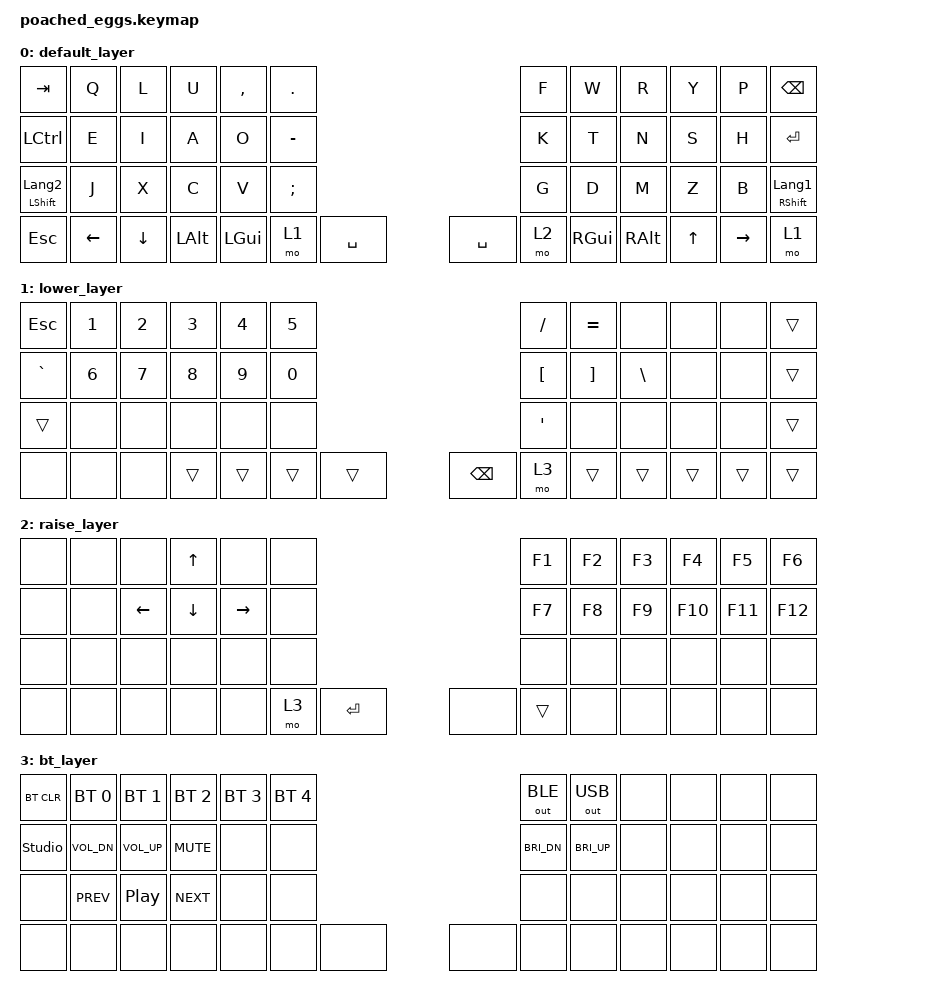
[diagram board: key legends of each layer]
#include <behaviors.dtsi>
#include <dt-bindings/zmk/bt.h>
#include <dt-bindings/zmk/keys.h>
#include <dt-bindings/zmk/outputs.h>

/ {
    keymap {
        compatible = "zmk,keymap";

        default_layer {
            bindings = <
&kp TAB               &kp Q     &kp L     &kp U     &kp COMMA  &kp DOT                          &kp F  &kp W     &kp R     &kp Y   &kp P      &kp BSPC
&kp LCTRL             &kp E     &kp I     &kp A     &kp O      &kp MINUS                        &kp K  &kp T     &kp N     &kp S   &kp H      &kp RET
&mt LSHFT LANGUAGE_2  &kp J     &kp X     &kp C     &kp V      &kp SEMI                         &kp G  &kp D     &kp M     &kp Z   &kp B      &mt RSHFT LANGUAGE_1
&kp ESC               &kp LEFT  &kp DOWN  &kp LALT  &kp LGUI   &mo 1      &kp SPACE  &kp SPACE  &mo 2  &kp RGUI  &kp RALT  &kp UP  &kp RIGHT  &mo 1
            >;
        };

        lower_layer {
            bindings = <
&kp ESC    &kp N1        &kp N2  &kp N3        &kp N4        &kp N5                          &kp SLASH  &kp EQUAL  &none     &none   &none   &trans
&kp GRAVE  &kp NUMBER_6  &kp N7  &kp NUMBER_8  &kp NUMBER_9  &kp NUMBER_0                    &kp LBKT   &kp RBKT   &kp BSLH  &none   &none   &trans
&trans     &none         &none   &none         &none         &none                           &kp SQT    &none      &none     &none   &none   &trans
&none      &none         &none   &trans        &trans        &trans        &trans  &kp BSPC  &mo 3      &trans     &trans    &trans  &trans  &trans
            >;
        };

        raise_layer {
            bindings = <
&none  &none  &none     &kp UP    &none      &none                  &kp F1  &kp F2  &kp F3  &kp F4   &kp F5   &kp F6
&none  &none  &kp LEFT  &kp DOWN  &kp RIGHT  &none                  &kp F7  &kp F8  &kp F9  &kp F10  &kp F11  &kp F12
&none  &none  &none     &none     &none      &none                  &none   &none   &none   &none    &none    &none
&none  &none  &none     &none     &none      &mo 3  &kp RET  &none  &trans  &none   &none   &none    &none    &none
            >;
        };

        bt_layer {
            bindings = <
&bt BT_CLR      &bt BT_SEL 0  &bt BT_SEL 1  &bt BT_SEL 2  &bt BT_SEL 3  &bt BT_SEL 4                &out OUT_BLE  &out OUT_USB  &none  &none  &none  &none
&studio_unlock  &kp C_VOL_DN  &kp C_VOL_UP  &kp C_MUTE    &none         &none                       &kp C_BRI_DN  &kp C_BRI_UP  &none  &none  &none  &none
&none           &kp C_PREV    &kp C_PP      &kp C_NEXT    &none         &none                       &none         &none         &none  &none  &none  &none
&none           &none         &none         &none         &none         &none         &none  &none  &none         &none         &none  &none  &none  &none
            >;
        };
    };
};
